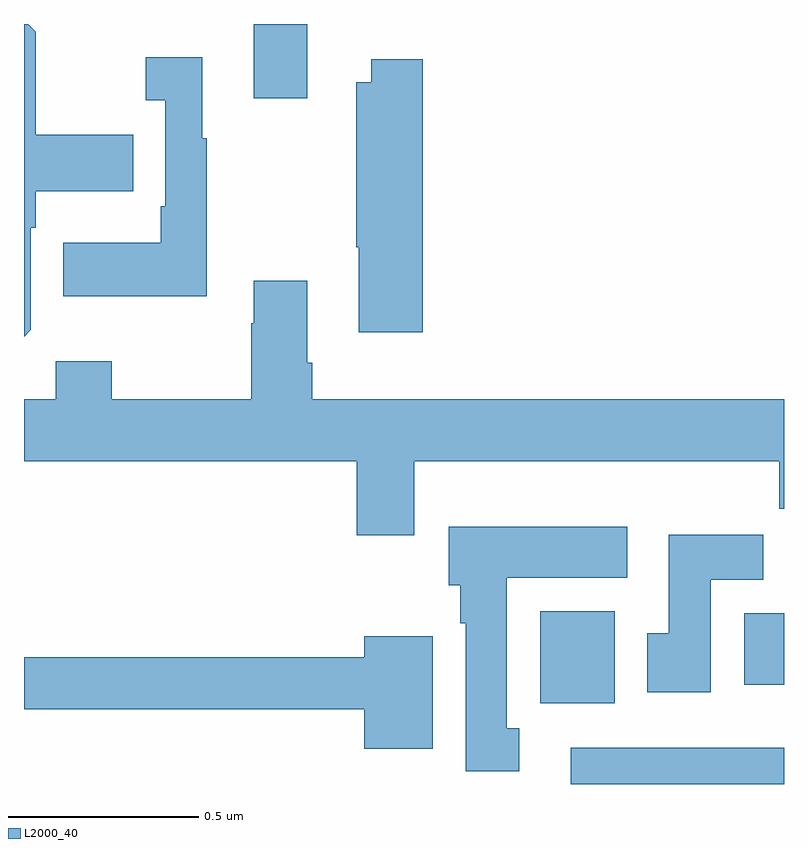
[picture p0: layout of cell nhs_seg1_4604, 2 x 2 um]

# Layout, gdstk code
import gdstk
lib = gdstk.Library(unit=1e-6, precision=1e-09)
def R(c, l, rs):  # rectangles x0, y0, x1, y1
    for r in rs: c.add(gdstk.rectangle(r[:2], r[2:], *l))
def P(c, l, *ps):  # polygons
    for p in ps: c.add(gdstk.Polygon(p, *l))
L2000_40 = (2000, 40)

nhs_seg1_4604 = lib.new_cell('nhs_seg1_4604')
R(nhs_seg1_4604, L2000_40, [(169.439,568.199,170,568.294), (169.358,568.412,169.555,568.654), (169.895,568.46,170,568.648), (168.605,570.003,168.745,570.199)])
P(nhs_seg1_4604, L2000_40, [(168.018,569.394),(168.018,569.663),(168.031,569.663),(168.031,569.759),(168.287,569.759),(168.287,569.907),(168.031,569.907),(168.031,570.179),(168.011,570.199),(168,570.199),(168,569.376)],
  [(168.481,569.899),(168.469,569.899),(168.469,570.112),(168.321,570.112),(168.321,569.999),(168.372,569.999),(168.372,569.719),(168.36,569.719),(168.36,569.623),(168.103,569.623),(168.103,569.483),(168.481,569.483)],
  [(169.049,570.106),(168.914,570.106),(168.914,570.046),(168.874,570.046),(168.874,569.611),(168.881,569.611),(168.881,569.388),(169.049,569.388)],
  [(169.027,569.048),(169.987,569.048),(169.987,568.924),(170,568.924),(170,569.212),(168.758,569.212),(168.758,569.308),(168.745,569.308),(168.745,569.524),(168.605,569.524),(168.605,569.411),(168.598,569.411),(168.598,569.212),(168.231,569.212),(168.231,569.311),(168.084,569.311),(168.084,569.212),(168,569.212),(168,569.048),(168.875,569.048),(168.875,568.854),(169.027,568.854)],
  [(169.303,568.346),(169.27,568.346),(169.27,568.742),(169.588,568.742),(169.588,568.876),(169.118,568.876),(169.118,568.722),(169.148,568.722),(169.148,568.622),(169.163,568.622),(169.163,568.233),(169.303,568.233)],
  [(169.807,568.736),(169.946,568.736),(169.946,568.855),(169.697,568.855),(169.697,568.596),(169.64,568.596),(169.64,568.44),(169.807,568.44)],
  [(169.075,568.588),(168.896,568.588),(168.896,568.532),(168,568.532),(168,568.396),(168.896,568.396),(168.896,568.292),(169.075,568.292)])

lib.write_gds('nhs_seg1_4604.gds')
